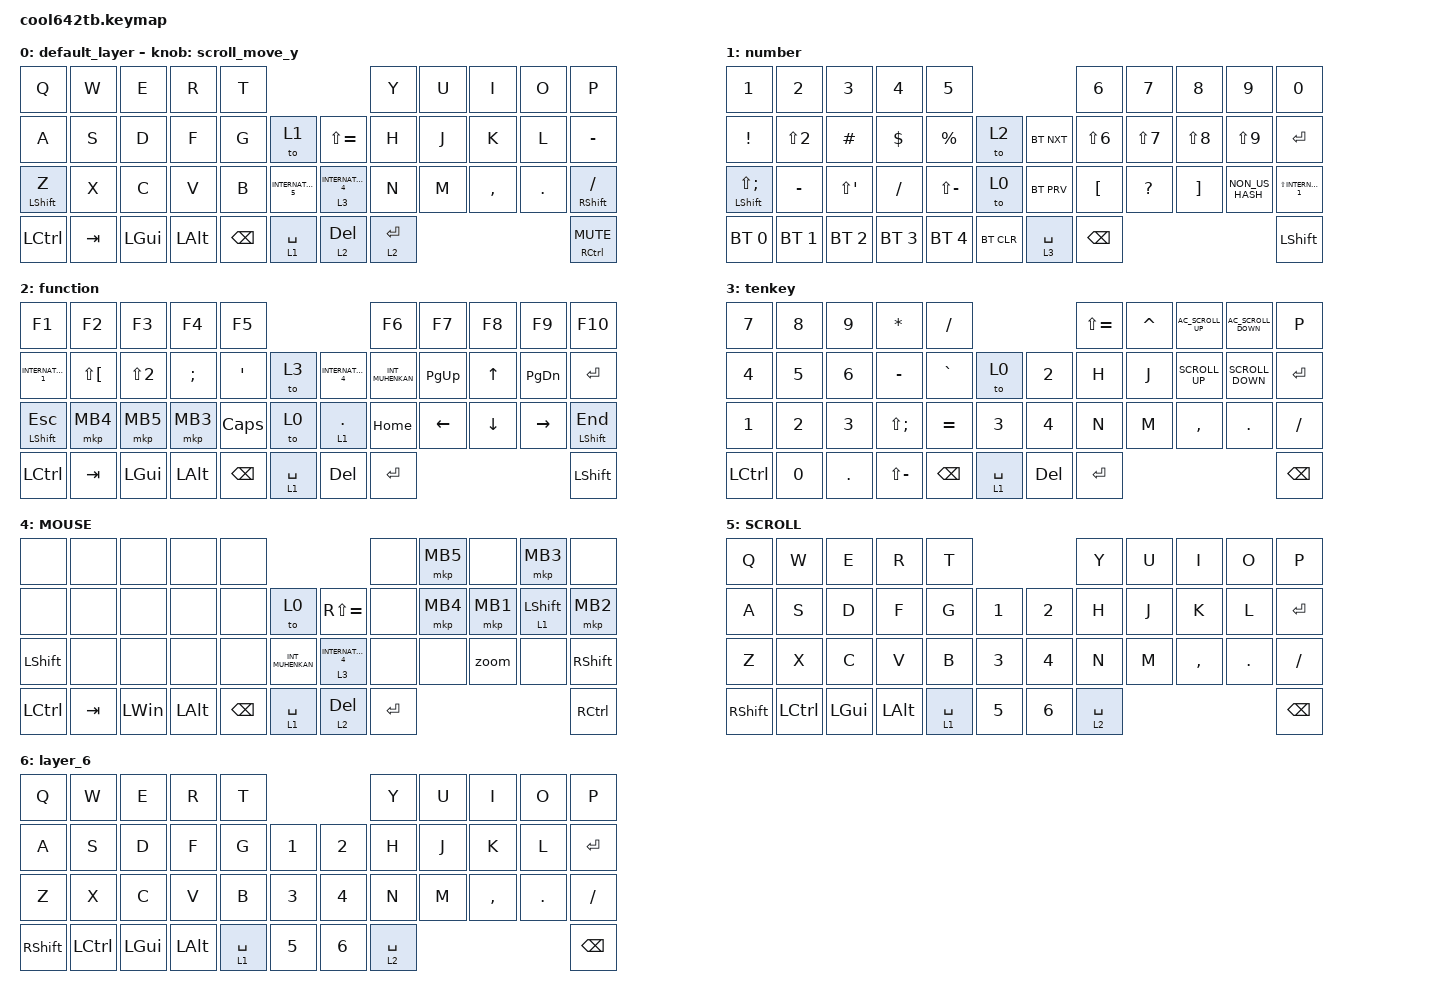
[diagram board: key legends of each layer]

#include <behaviors.dtsi>
#include <dt-bindings/zmk/bt.h>
#include <dt-bindings/zmk/keys.h>
#include <dt-bindings/zmk/pointing.h>

#define MOUSE 4
#define SCROLL 5
#define NUM 6

&mt {
    flavor = "balanced";
    quick-tap-ms = <0>;
};

/ {
    combos {
        compatible = "zmk,combos";

        comb1 {
            bindings = <&kp TAB>;
            key-positions = <11 10>;
        };

        comb2 {
            bindings = <&kp LS(ESCAPE)>;
            key-positions = <0 1>;
        };

        comb3 {
            bindings = <&kp CAPSLOCK>;
            key-positions = <22 23>;
        };

        comb4 {
            bindings = <&kp BACKSPACE>;
            key-positions = <9 8>;
        };

        comb5 {
            bindings = <&bt BT_CLR_ALL>;
            key-positions = <9 8>;
            timeout-ms = <0>;
            layers = <2>;
        };

        MS_BTN1_ {
            bindings = <&mkp MB1>;
            key-positions = <38 39>;
        };

        MS_BTN2_ {
            bindings = <&mkp MB2>;
            key-positions = <38 37>;
        };
    };

    macros {
        to_layer_0: to_layer_0 {
            compatible = "zmk,behavior-macro-one-param";
            #binding-cells = <1>;
            bindings = <&to 0 &macro_param_1to1 &kp MACRO_PLACEHOLDER>;
            label = "TO_LAYER_0";
        };

        zoom: zoom {
            compatible = "zmk,behavior-macro";
            #binding-cells = <0>;
            bindings = <&kp LCTRL &mo 1>;
            label = "zoom";
        };
    };

    behaviors {
        lt_to_layer_0: lt_to_layer_0 {
            compatible = "zmk,behavior-hold-tap";
            label = "LAYER_TAP_TO_0";
            bindings = <&mo>, <&to_layer_0>;

            #binding-cells = <2>;
            tapping-term-ms = <200>;
        };

scroll_up_down: scroll_up_down {
    compatible = "zmk,behavior-sensor-rotate";
    #sensor-binding-cells = <0>;
    bindings = <&msc SCRL_UP>, <&msc SCRL_DOWN>;
    tap-ms = <0>;
};

        scroll_up_down2: scroll_up_down2 {
            compatible = "zmk,behavior-sensor-rotate";
            #sensor-binding-cells = <0>;
            bindings = <&msc SCRL_UP>, <&msc SCRL_DOWN>;

            tap-ms = <40>;
            label = "SCROLL_UP_DOWN2";
        };
    };

    // エンコーダー：キー

    rot_kp: sensor_rotate_kp {
        compatible = "zmk,behavior-sensor-rotate-var";
        #sensor-binding-cells = <2>;
        bindings = <&kp>, <&kp>;
    };

    // エンコーダー：マウススクロール 

    rot_msc: sensor_rotate_msc {
        compatible = "zmk,behavior-sensor-rotate-var";
        #sensor-binding-cells = <2>;
        tap-ms = <20>;
        bindings = <&msc>, <&msc>;
    };

    // エンコーダー：マウススクロール(MOVE_Y)

    scroll_move_y: sensor_rotate_msc_for_move_y {
        compatible = "zmk,behavior-sensor-rotate";
        #sensor-binding-cells = <0>;
        bindings = <&msc MOVE_Y(20)>, <&msc MOVE_Y(-20)>;

        // tap-ms下限メモ Yの値で可変: Y(15) <81>, Y(20) <65>, Y(25) <49>

        tap-ms = <65>;
    };

    // エンコーダー：マウススクロール(MOVE_X)

    scroll_move_x: sensor_rotate_msc_for_move_x {
        compatible = "zmk,behavior-sensor-rotate";
        #sensor-binding-cells = <0>;
        bindings = <&msc MOVE_X(20)>, <&msc MOVE_X(-20)>;

        // tap-ms下限メモ Xの値で可変: X(15) <81>, X(20) <65>, X(25) <49>

        tap-ms = <65>;
    };

    keymap {
        compatible = "zmk,keymap";

        default_layer {
            bindings = <
&kp Q             &kp W    &kp E         &kp R         &kp T                                                      &kp Y        &kp U  &kp I      &kp O       &kp P
&kp A             &kp S    &kp D         &kp F         &kp G          &to 1                &kp LS(EQUAL)          &kp H        &kp J  &kp K      &kp L       &kp MINUS
&mt LEFT_SHIFT Z  &kp X    &kp C         &kp V         &kp B          &kp INTERNATIONAL_5  &lt 3 INTERNATIONAL_4  &kp N        &kp M  &kp COMMA  &kp PERIOD  &mt RIGHT_SHIFT SLASH
&kp LCTRL         &kp TAB  &kp LEFT_GUI  &kp LEFT_ALT  &kp BACKSPACE  &lt 1 SPACE          &lt 2 DEL              &lt 2 ENTER                                &mt RCTRL C_MUTE
            >;

            sensor-bindings = <&scroll_move_y>;
        };

        number {
            bindings = <
&kp N1                        &kp N2            &kp N3                &kp N4        &kp N5                                  &kp N6            &kp N7        &kp N8             &kp N9           &kp N0
&kp EXCLAMATION               &kp LS(NUMBER_2)  &kp HASH              &kp DOLLAR    &kp PERCENT    &to 2       &bt BT_NXT   &kp LS(NUMBER_6)  &kp LS(N7)    &kp LS(N8)         &kp LS(N9)       &kp ENTER
&mt LEFT_SHIFT LS(SEMICOLON)  &kp MINUS         &kp LS(SINGLE_QUOTE)  &kp SLASH     &kp LS(MINUS)  &to 0       &bt BT_PRV   &kp LEFT_BRACKET  &kp QUESTION  &kp RIGHT_BRACKET  &kp NON_US_HASH  &kp LS(INTERNATIONAL_1)
&bt BT_SEL 0                  &bt BT_SEL 1      &bt BT_SEL 2          &bt BT_SEL 3  &bt BT_SEL 4   &bt BT_CLR  &lt 3 SPACE  &kp BACKSPACE                                                       &kp LEFT_SHIFT
            >;
        };

        function {
            bindings = <
&kp F1                 &kp F2                &kp F3            &kp F4         &kp F5                                              &kp F6            &kp F7          &kp F8        &kp F9         &kp F10
&kp INTERNATIONAL_1    &kp LS(LEFT_BRACKET)  &kp LS(NUMBER_2)  &kp SEMICOLON  &kp SINGLE_QUOTE  &to 3        &kp INTERNATIONAL_4  &kp INT_MUHENKAN  &kp PAGE_UP     &kp UP_ARROW  &kp PAGE_DOWN  &kp ENTER
&mt LEFT_SHIFT ESCAPE  &mkp MB4              &mkp MB5          &mkp MB3       &kp CAPS          &to 0        &lt 1 PERIOD         &kp HOME          &kp LEFT_ARROW  &kp DOWN      &kp RIGHT      &mt LEFT_SHIFT END
&kp LCTRL              &kp TAB               &kp LEFT_GUI      &kp LEFT_ALT   &kp BACKSPACE     &lt 1 SPACE  &kp DEL              &kp ENTER                                                      &kp LEFT_SHIFT
            >;
        };

        tenkey {
            bindings = <
&kp N7        &kp N8        &kp N9        &kp ASTERISK       &kp SLASH                            &kp LS(EQUAL)  &kp CARET  &kp C_AC_SCROLL_UP  &kp C_AC_SCROLL_DOWN  &kp P
&kp NUMBER_4  &kp N5        &kp NUMBER_6  &kp MINUS          &kp GRAVE      &to 0        &kp N2   &kp H          &kp J      &kp K_SCROLL_UP     &kp K_SCROLL_DOWN     &kp ENTER
&kp NUMBER_1  &kp NUMBER_2  &kp NUMBER_3  &kp LS(SEMICOLON)  &kp EQUAL      &kp N3       &kp N4   &kp N          &kp M      &kp COMMA           &kp PERIOD            &kp SLASH
&kp LCTRL     &kp N0        &kp PERIOD    &kp LS(MINUS)      &kp BACKSPACE  &lt 1 SPACE  &kp DEL  &kp ENTER                                                           &kp BSPC
            >;
        };

        MOUSE {
            bindings = <
&none           &none    &none         &none         &none                                                   &none      &mkp MB5  &none     &mkp MB3          &none
&none           &none    &none         &none         &none          &to 0             &kp RS(EQUAL)          &none      &mkp MB4  &mkp MB1  &lt 1 LEFT_SHIFT  &mkp MB2
&kp LEFT_SHIFT  &none    &none         &none         &none          &kp INT_MUHENKAN  &lt 3 INTERNATIONAL_4  &none      &none     &zoom     &none             &kp RIGHT_SHIFT
&kp LCTRL       &kp TAB  &kp LEFT_WIN  &kp LEFT_ALT  &kp BACKSPACE  &lt 1 SPACE       &lt 2 DELETE           &kp ENTER                                        &kp RCTRL
            >;
        };

        SCROLL {
            bindings = <
&kp Q       &kp W      &kp E     &kp R     &kp T                        &kp Y        &kp U  &kp I      &kp O       &kp P
&kp A       &kp S      &kp D     &kp F     &kp G        &kp N1  &kp N2  &kp H        &kp J  &kp K      &kp L       &kp ENTER
&kp Z       &kp X      &kp C     &kp V     &kp B        &kp N3  &kp N4  &kp N        &kp M  &kp COMMA  &kp PERIOD  &kp SLASH
&kp RSHIFT  &kp LCTRL  &kp LGUI  &kp LALT  &lt 1 SPACE  &kp N5  &kp N6  &lt 2 SPACE                                &kp BSPC
            >;
        };

        layer_6 {
            bindings = <
&kp Q       &kp W      &kp E     &kp R     &kp T                        &kp Y        &kp U  &kp I      &kp O       &kp P
&kp A       &kp S      &kp D     &kp F     &kp G        &kp N1  &kp N2  &kp H        &kp J  &kp K      &kp L       &kp ENTER
&kp Z       &kp X      &kp C     &kp V     &kp B        &kp N3  &kp N4  &kp N        &kp M  &kp COMMA  &kp PERIOD  &kp SLASH
&kp RSHIFT  &kp LCTRL  &kp LGUI  &kp LALT  &lt 1 SPACE  &kp N5  &kp N6  &lt 2 SPACE                                &kp BSPC
            >;
        };
    };
};
